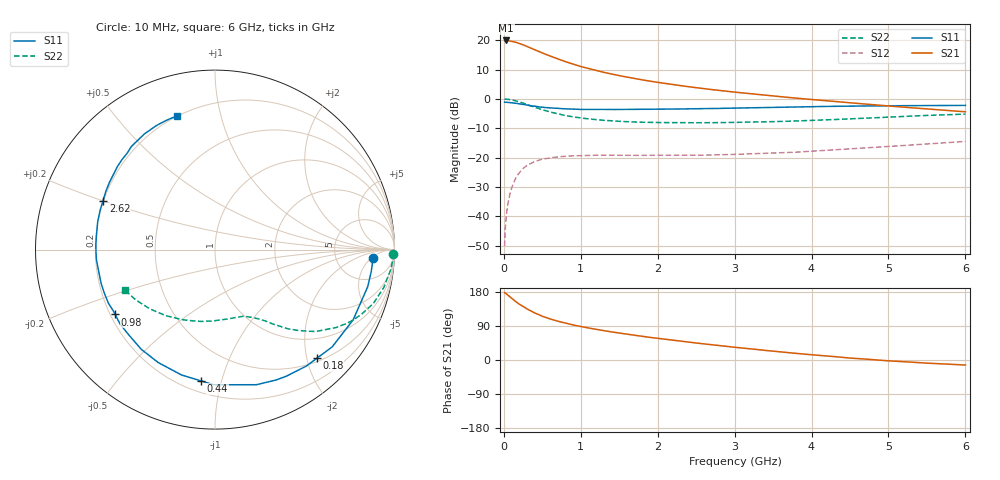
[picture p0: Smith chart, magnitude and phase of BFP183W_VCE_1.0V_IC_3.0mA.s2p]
! Infineon Technologies  Discrete & RF Semiconductors
! BFP183W
! VCE = 1.0 V,  IC =  3.0 mA
! Common Emitter S-Parameters:  Jan 2016
# GHz  S  MA  R  50
!  f  S11  S21  S12  S22
! GHz  MAG  ANG  MAG  ANG  MAG  ANG  MAG  ANG
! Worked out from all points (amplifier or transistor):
!   210 points, 10 MHz to 6 GHz, reference 50 ohm
!   highest |S21| = 19.9 dB at 30 MHz (marker M1)
!   |S21| within 3 dB of that: start of sweep to 388 MHz
!   unconditionally stable (mu >= 1): 2.023 GHz to end of sweep
!   at 185 MHz: K = 0.12, MSG = 22.4 dB, |S12| = -25.8 dB
!   at 1.52 GHz: K = 0.78, MSG = 13.5 dB, |S12| = -19.2 dB
!   at 6 GHz: K = 1.10, MAG = 3.2 dB, |S12| = -14.5 dB
!   S11 on the Smith chart (normalised r, x): 10 MHz: 14, -5; 180 MHz: 0.56, -2.18; 440 MHz: 0.27, -0.86; 980 MHz: 0.22, -0.28; 2.62 GHz: 0.20, +0.20; 6 GHz: 0.20, +0.74
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0.01  0.8811 -2.9  9.813 177.7  0.0031 90.4  0.9944 -1.3
0.03  0.8791 -8.1  9.887 175.1  0.0095 86.1  0.991 -3.9
0.1  0.8636 -27.0  9.594 163.2  0.0299 75.1  0.9636 -12.7
0.15  0.8485 -39.7  9.281 154.9  0.0435 68.1  0.9319 -18.8
0.18  0.8297 -46.9  8.983 150.5  0.0503 64.2  0.9068 -21.8
0.24  0.8094 -60.7  8.442 142.3  0.0632 57.4  0.8567 -27.7
0.3  0.7873 -73.0  7.829 134.6  0.0735 51.4  0.8032 -32.7
0.4  0.7532 -90.5  6.9 124.2  0.0856 43.3  0.7225 -39.2
0.44  0.7356 -96.1  6.546 121.0  0.0889 40.7  0.6947 -40.9
0.5  0.7231 -104.9  6.06 115.4  0.0941 37.2  0.6542 -43.7
0.58  0.7056 -114.3  5.502 109.9  0.098 33.3  0.6098 -46.6
0.7  0.6909 -126.5  4.805 102.4  0.103 28.8  0.5561 -49.9
0.8  0.6767 -134.8  4.305 97.1  0.1053 25.8  0.5212 -52.4
0.98  0.663 -147.0  3.629 89.2  0.1077 22.0  0.4772 -55.7
1.02  0.6617 -149.3  3.505 87.6  0.1082 21.3  0.4698 -56.4
1.4  0.6596 -167.4  2.648 74.1  0.1101 17.1  0.4245 -62.6
2.02  0.6659 171.5  1.895 56.7  0.1094 16.2  0.3954 -72.8
2.62  0.6802 156.3  1.484 42.1  0.1102 18.6  0.3926 -84.3
3.1  0.6998 145.7  1.265 31.6  0.1145 21.1  0.3991 -94.2
4.1  0.7418 127.5  0.951 12.2  0.1308 26.4  0.4343 -117.3
5.1  0.765 114.4  0.739 -3.3  0.1574 28.5  0.4957 -139.7
6  0.7746 105.8  0.603 -13.3  0.1885 27.6  0.5516 -156.0
